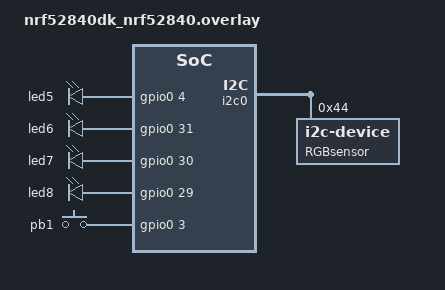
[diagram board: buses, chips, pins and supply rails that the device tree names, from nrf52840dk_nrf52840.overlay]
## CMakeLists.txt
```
cmake_minimum_required(VERSION 3.20.0)
find_package(Zephyr REQUIRED HINTS $ENV{ZEPHYR_BASE})

project(SGL_1)

target_sources(app PRIVATE src/main.c)
```

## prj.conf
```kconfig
CONFIG_I2C=y
CONFIG_LOG=y
CONFIG_CBPRINTF_FP_SUPPORT=y
CONFIG_EVENTS=y
```

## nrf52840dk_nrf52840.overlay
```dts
// To get started, press Ctrl+Space to bring up the completion menu and view the available nodes.

// You can also use the buttons in the sidebar to perform actions on nodes.
// Actions currently available include:

// * Enabling / disabling the node
// * Adding the bus to a bus
// * Removing the node
// * Connecting ADC channels

// For more help, browse the DeviceTree documentation at https://docs.zephyrproject.org/latest/guides/dts/index.html
// You can also visit the nRF DeviceTree extension documentation at https://docs.nordicsemi.com/bundle/nrf-connect-vscode/page/guides/ncs_configure_app.html#devicetree-support-in-the-extension
&i2c0 {
    RGBsensor: ISL29125@44 { 
      compatible = "i2c-device";
      reg = <0x44>; 
      status = "okay";
    };

 
  
};
&spi1 { status = "disabled";};
&spi0 { status = "disabled";};
&i2c1 { status = "disabled";};
/{

  leds{
led5: int{
  gpios = <&gpio0 4 (GPIO_ACTIVE_HIGH)>;
};

led6: red1{
  gpios = <&gpio0 31 (GPIO_ACTIVE_HIGH)>;
};

led7: green1{
  gpios = <&gpio0 30 (GPIO_ACTIVE_HIGH)>;
};

led8: blue1{
  gpios = <&gpio0 29 (GPIO_ACTIVE_HIGH)>;
};

};

    buttons{
   pb1: button_4 {
    gpios = <&gpio0 3 (GPIO_ACTIVE_HIGH | GPIO_PULL_DOWN)>; 
   };
};

aliases{
  turnon = &led5;
  pb = &pb1;
  red = &led6;
  green = &led7;
  blue = &led8;
}; 
};
```

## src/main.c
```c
//////////////////////////
//RGB sensor Self directed learning
//
//
//When the button is pushed the sensor takes 
//a measuremnt and displays it and shows witch is the greatest
/////////////////////////
#include <zephyr/kernel.h>
#include <zephyr/device.h>
#include <zephyr/drivers/i2c.h>
#include <zephyr/logging/log.h>
#include <zephyr/devicetree.h>
#include <zephyr/drivers/gpio.h>

LOG_MODULE_REGISTER(Selfdirectedlearning, LOG_LEVEL_INF);

#define RGB_NODE DT_NODELABEL(rgbsensor) // Define the i2c connection to the sensor
const struct i2c_dt_spec RGB = I2C_DT_SPEC_GET(RGB_NODE);

#define SLEEP_TIME_MS 1000 // define sleep time for set up

#define BTN_NI DT_ALIAS(pb)
const struct gpio_dt_spec btn = GPIO_DT_SPEC_GET(BTN_NI, gpios); // configure the External push button
static struct gpio_callback btn_cb_data;//set up call back for when the button is pushed

//define led to show greatest color
#define RED_NI DT_ALIAS(red)
const struct gpio_dt_spec red1 = GPIO_DT_SPEC_GET(RED_NI, gpios); 

#define GREEN_NI DT_ALIAS(green)
const struct gpio_dt_spec green2 = GPIO_DT_SPEC_GET(GREEN_NI, gpios);

#define BLUE_NI DT_ALIAS(blue)
const struct gpio_dt_spec blue3 = GPIO_DT_SPEC_GET(BLUE_NI, gpios); 

//configure the Inturupt pin as a led so it can be toggled hign and low
#define INT_NI DT_ALIAS(turnon)
const struct gpio_dt_spec intRGB = GPIO_DT_SPEC_GET(INT_NI, gpios); 

#define BTN_EVENT BIT(0)      // event for when the button is pressed
#define RGB_EVENT BIT(1)      // evnent to trigger a measurement to be taken
#define COLOR_EVENT BIT(2)    // event to display and use the color data 
K_EVENT_DEFINE(eventManager); // define the event manager

//array of colors in order R,G,B
volatile int16_t RGBComponents[3];

//Callback funtion to trigger the rgbtoggle funtion
void buttonPressed(const struct device *dev, struct gpio_callback *cb, uint32_t pins); 

//bright color determines whitch color is the brightest and turns the respective led on for 1s
void brightColor();
K_THREAD_DEFINE(bright_id, 1024, brightColor, NULL, NULL, NULL, 2, 0, 0);

//this thread toggles the INTERUPT pin of the sensor to act as an on off switch
void rgbToggle();
K_THREAD_DEFINE(rgbToggle_id, 1024, rgbToggle, NULL, NULL, NULL, 2, 0, 0);

//This thread sets up the I2C connection and cofigures the sensor 
void talkRGB();
K_THREAD_DEFINE(talk_id, 1024, talkRGB, NULL, NULL, NULL, 2, 0, 0);

int main(void)
{
        gpio_pin_configure_dt(&btn, GPIO_INPUT);//configure the button 
        gpio_init_callback(&btn_cb_data, buttonPressed, BIT(btn.pin)); //configure the button as an ISR
        gpio_add_callback(btn.port, &btn_cb_data);
        gpio_pin_interrupt_configure_dt(&btn, GPIO_INT_EDGE_TO_ACTIVE);//Activates as it goes to high
        LOG_DBG("main");
}
void buttonPressed(const struct device *dev, struct gpio_callback *cb, uint32_t pins)
{
        k_event_post(&eventManager, BTN_EVENT);//post event for when button is pressed
}

void rgbToggle()
{
        gpio_pin_configure_dt(&intRGB, 0);//configure the interupt pin as an LED
        while (true)
        {
                k_event_wait(&eventManager, BTN_EVENT, false, K_FOREVER);//wait for button to be pushed
                k_event_post(&eventManager, RGB_EVENT);//post event for the sesnor to activate
                gpio_pin_set_dt(&intRGB, 1);//Turn on the sesor to take a measuremnt
                k_msleep(50);
                gpio_pin_set_dt(&intRGB, 0);//turn off sensor
                LOG_DBG("BTN");
                k_event_clear(&eventManager, BTN_EVENT);//clear the button event
                k_msleep(1000);
        }
}

void talkRGB()
{
        {

                uint8_t buffer[6]; // set arrays for data read and write

                int err;

                if (!i2c_is_ready_dt(&RGB))
                { // check if the sensor is ready
                        LOG_ERR("I2C bus not ready");
                        return -1;
                }

                buffer[0] = 0x01; // set to measure all colors and but it in sync mode set lux range to 10,000
                buffer[1] = 0x2D;
                err = i2c_write_dt(&RGB, buffer, 2);
                if (err)
                {
                        LOG_ERR("I2C write failed");
                        return -1;
                }
                k_msleep(SLEEP_TIME_MS);

                buffer[0] = 0x02;//set IR protection
                buffer[1] = 0x02;
                err = i2c_write_dt(&RGB, buffer, 2);
                if (err)
                {
                        LOG_ERR("I2C write failed");
                        return -1;
                }
                k_msleep(SLEEP_TIME_MS);

                buffer[0] = 0x08; //turn off the power off/brown out indacator
                buffer[1] = 0x00;
                err = i2c_write_dt(&RGB, buffer, 2);
                if (err)
                {
                        LOG_ERR("I2C write failed");
                }
                LOG_DBG("RGB READY");
                k_msleep(SLEEP_TIME_MS);

                while (true)
                {
                        k_event_wait(&eventManager, RGB_EVENT, false, K_FOREVER);//wait till its toggled on by the button
                        // LOG_DBG("RGB READ");

                        buffer[0] = 0x09;                                    // Data register for Green low byte
                        err = i2c_write_read_dt(&RGB, buffer, 1, buffer, 6); // read all data register in order green red blue
                        if (err)
                        {
                                LOG_ERR("I2C write-read failed");
                                // return -1;
                        }
                        RGBComponents[1] = (buffer[0] | buffer[1] << 8); // green
                        RGBComponents[0] = (buffer[2] | buffer[3] << 8); // red
                        RGBComponents[2] = (buffer[4] | buffer[5] << 8); // blue
                                                                         // Array is now in order RGB
                        LOG_INF("Red %x, Green %x, Blue %x", RGBComponents[0], RGBComponents[1], RGBComponents[2]);//display components from 0x0000 to 0xFFFF
                        k_msleep(10);
                        k_event_post(&eventManager, COLOR_EVENT);//post color event
                        k_event_clear(&eventManager, RGB_EVENT);//clear RGB event
                }
        }
}

void brightColor()
{
        if (gpio_is_ready_dt(&red1) && gpio_is_ready_dt(&green2) && gpio_is_ready_dt(&blue3))//set up all three leds
        {
                gpio_pin_configure_dt(&red1, GPIO_OUTPUT);
                gpio_pin_configure_dt(&green2, GPIO_OUTPUT);
                gpio_pin_configure_dt(&blue3, GPIO_OUTPUT);
        }
        else
        {
                LOG_ERR("NO CONFIG LED");
        }
        while (true)
        {
                k_event_wait(&eventManager, COLOR_EVENT, false, K_FOREVER);//wait till the data is ready to be processed
                // LOG_DBG("this one");
                if (RGBComponents[0] > RGBComponents[1])//determine the largest then toggle that led for 1s
                {

                        if ((RGBComponents[0]) > RGBComponents[2])
                        {
                                gpio_pin_toggle_dt(&red1);
                                LOG_INF("Red is the greatest color");
                                k_msleep(1000);
                                gpio_pin_toggle_dt(&red1);
                        }
                        else
                        {
                                gpio_pin_set_dt(&blue3, 1);
                                LOG_INF("Blue is the greatest color");
                                k_msleep(1000);
                                gpio_pin_set_dt(&blue3, 0);
                        }
                }
                else
                {
                        if (RGBComponents[1] > RGBComponents[2])
                        {
                                gpio_pin_set_dt(&green2, 1);
                                LOG_INF("Green is the greatest color");
                                k_msleep(1000);
                                gpio_pin_set_dt(&green2, 0);
                        }else
                        {
                                 gpio_pin_set_dt(&blue3, 1);
                                LOG_INF("Green is the greatest color");
                                k_msleep(1000);
                                gpio_pin_set_dt(&blue3, 0); 
                        }
                        
                }
                k_event_clear(&eventManager, COLOR_EVENT);//clear color event
        }
}
```
